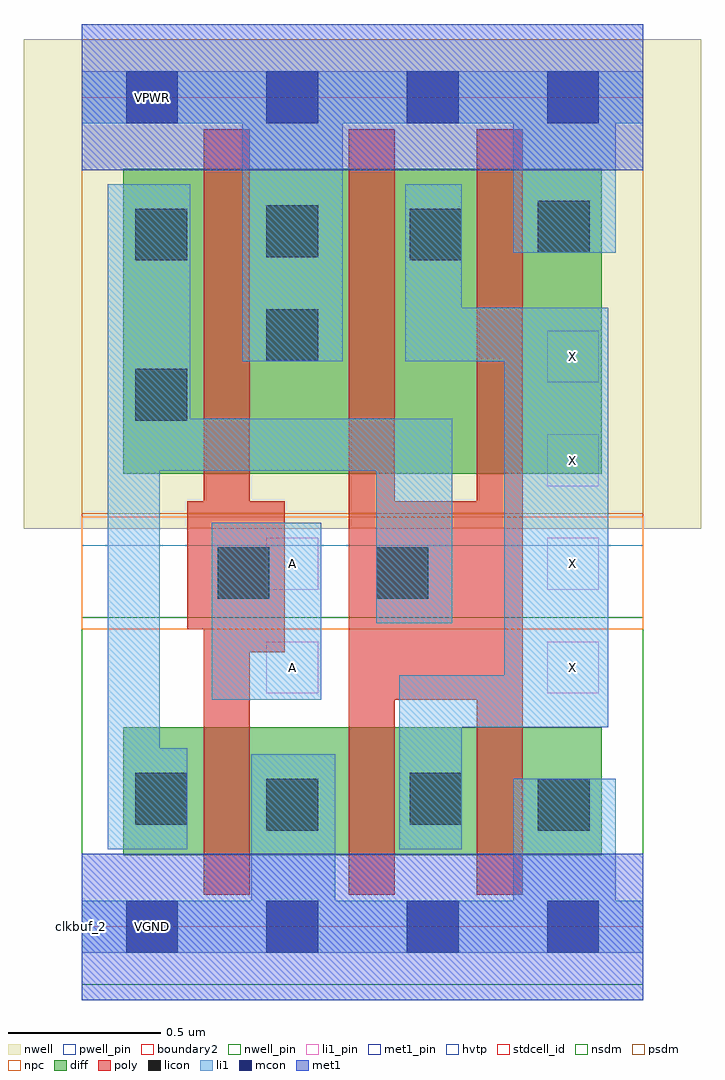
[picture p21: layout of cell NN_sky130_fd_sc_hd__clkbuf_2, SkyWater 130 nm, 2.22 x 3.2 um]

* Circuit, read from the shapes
.subckt NN_sky130_fd_sc_hd__clkbuf_2 A VGND VNB VPB VPWR X
XM1 VGND A n1 VNB sky130_fd_pr__nfet_01v8 w=0.42 l=0.15
XM2 X n1 VGND VNB sky130_fd_pr__nfet_01v8 w=0.42 l=0.15 m=2
XM3 VPWR A n1 VPB sky130_fd_pr__pfet_01v8_hvt w=1 l=0.15
XM4 X n1 VPWR VPB sky130_fd_pr__pfet_01v8_hvt w=1 l=0.15 m=2
.ends

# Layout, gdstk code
import gdstk
lib = gdstk.Library(unit=1e-6, precision=1e-09)
def R(c, l, rs):  # rectangles x0, y0, x1, y1
    for r in rs: c.add(gdstk.rectangle(r[:2], r[2:], *l))
def A(c, l, x, y, w, h, nx, ny, dx, dy):  # array of equal rectangles
    R(c, l, [(x+i*dx, y+j*dy, x+i*dx+w, y+j*dy+h) for i in range(nx) for j in range(ny)])
def P(c, l, *ps):  # polygons
    for p in ps: c.add(gdstk.Polygon(p, *l))
nwell_pin = (64, 16)
nwell = (64, 20)
diff = (65, 20)
poly = (66, 20)
licon = (66, 44)
li1_pin = (67, 16)
li1 = (67, 20)
mcon = (67, 44)
met1_pin = (68, 16)
met1 = (68, 20)
hvtp = (78, 44)
stdcell_id = (81, 4)
nsdm = (93, 44)
psdm = (94, 20)
npc = (95, 20)
pwell_pin = (122, 16)
boundary2 = (236, 0)

nn_sky130_fd_sc_hd__clkb = lib.new_cell('NN_sky130_fd_sc_hd__clkbuf_2')
R(nn_sky130_fd_sc_hd__clkb, nwell_pin, [(0.145,2.635,0.315,2.805)])
R(nn_sky130_fd_sc_hd__clkb, nwell, [(-0.19,1.305,2.03,2.91)])
R(nn_sky130_fd_sc_hd__clkb, diff, [(0.135,0.235,1.705,0.655), (0.135,1.485,1.705,2.485)])
P(nn_sky130_fd_sc_hd__clkb, poly, [(0.665,1.395),(0.55,1.395),(0.55,2.615),(0.4,2.615),(0.4,1.395),(0.345,1.395),(0.345,0.975),(0.4,0.975),(0.4,0.105),(0.55,0.105),(0.55,0.9),(0.665,0.9)],
  [(1.445,2.615),(1.295,2.615),(1.295,1.395),(1.025,1.395),(1.025,2.615),(0.875,2.615),(0.875,0.105),(1.025,0.105),(1.025,0.745),(1.295,0.745),(1.295,0.105),(1.445,0.105)])
R(nn_sky130_fd_sc_hd__clkb, licon, [(0.605,0.315,0.775,0.485), (1.495,0.315,1.665,0.485), (0.175,0.335,0.345,0.505), (1.075,0.335,1.245,0.505), (0.445,1.075,0.615,1.245), (0.965,1.075,1.135,1.245), (0.175,1.66,0.345,1.83), (0.605,1.855,0.775,2.025), (0.175,2.185,0.345,2.355), (1.075,2.185,1.245,2.355), (0.605,2.195,0.775,2.365), (1.495,2.21,1.665,2.38)])
A(nn_sky130_fd_sc_hd__clkb, li1_pin, 1.525, 0.765, 0.17, 0.17, 1, 4, 0, 0.34)
R(nn_sky130_fd_sc_hd__clkb, li1_pin, [(0.605,0.765,0.775,0.935), (0.605,1.105,0.775,1.275)])
R(nn_sky130_fd_sc_hd__clkb, li1, [(0.425,0.745,0.785,1.325)])
P(nn_sky130_fd_sc_hd__clkb, li1, [(1.215,1.665),(0.355,1.665),(0.355,2.435),(0.085,2.435),(0.085,0.255),(0.345,0.255),(0.345,0.585),(0.255,0.585),(0.255,1.495),(0.965,1.495),(0.965,0.995),(1.215,0.995)],
  [(1.725,2.03),(1.245,2.03),(1.245,2.435),(1.06,2.435),(1.06,1.855),(1.385,1.855),(1.385,0.825),(1.04,0.825),(1.04,0.255),(1.245,0.255),(1.245,0.655),(1.725,0.655)],
  [(1.84,2.805),(0,2.805),(0,2.635),(0.525,2.635),(0.525,1.855),(0.855,1.855),(0.855,2.635),(1.415,2.635),(1.415,2.21),(1.75,2.21),(1.75,2.635),(1.84,2.635)],
  [(1.84,0.085),(1.75,0.085),(1.75,0.485),(1.415,0.485),(1.415,0.085),(0.83,0.085),(0.83,0.565),(0.555,0.565),(0.555,0.085),(0,0.085),(0,-0.085),(1.84,-0.085)])
A(nn_sky130_fd_sc_hd__clkb, mcon, 0.145, -0.085, 0.17, 0.17, 4, 2, 0.46, 2.72)
R(nn_sky130_fd_sc_hd__clkb, met1_pin, [(0.145,-0.085,0.315,0.085), (0.145,-0.085,0.315,0.085), (0.145,2.635,0.315,2.805), (0.145,2.635,0.315,2.805)])
R(nn_sky130_fd_sc_hd__clkb, met1, [(0,-0.24,1.84,0.24), (0,2.48,1.84,2.96)])
R(nn_sky130_fd_sc_hd__clkb, hvtp, [(0,1.25,1.84,2.72), (0,1.25,1.84,2.72), (0,1.25,1.84,2.72)])
R(nn_sky130_fd_sc_hd__clkb, stdcell_id, [(0,0,1.84,2.72)])
R(nn_sky130_fd_sc_hd__clkb, nsdm, [(0,-0.19,1.84,1.015)])
R(nn_sky130_fd_sc_hd__clkb, psdm, [(0,1.355,1.84,2.91)])
R(nn_sky130_fd_sc_hd__clkb, npc, [(0,0.975,1.84,1.345)])
R(nn_sky130_fd_sc_hd__clkb, pwell_pin, [(0.145,-0.085,0.315,0.085)])
R(nn_sky130_fd_sc_hd__clkb, boundary2, [(0,0,1.84,2.72)])
nn_sky130_fd_sc_hd__clkb.add(gdstk.Label('A', (0.69,0.85), layer=67, texttype=5))
nn_sky130_fd_sc_hd__clkb.add(gdstk.Label('A', (0.69,1.19), layer=67, texttype=5))
nn_sky130_fd_sc_hd__clkb.add(gdstk.Label('X', (1.61,1.19), layer=67, texttype=5))
nn_sky130_fd_sc_hd__clkb.add(gdstk.Label('X', (1.61,0.85), layer=67, texttype=5))
nn_sky130_fd_sc_hd__clkb.add(gdstk.Label('X', (1.61,1.53), layer=67, texttype=5))
nn_sky130_fd_sc_hd__clkb.add(gdstk.Label('X', (1.61,1.87), layer=67, texttype=5))
nn_sky130_fd_sc_hd__clkb.add(gdstk.Label('VGND', (0.23,0), layer=68, texttype=5))
nn_sky130_fd_sc_hd__clkb.add(gdstk.Label('VPWR', (0.23,2.72), layer=68, texttype=5))
nn_sky130_fd_sc_hd__clkb.add(gdstk.Label('VGND', (0.23,0), layer=68, texttype=5))
nn_sky130_fd_sc_hd__clkb.add(gdstk.Label('VPWR', (0.23,2.72), layer=68, texttype=5))
nn_sky130_fd_sc_hd__clkb.add(gdstk.Label('VPB', (0.23,2.72), layer=64, texttype=5))
nn_sky130_fd_sc_hd__clkb.add(gdstk.Label('VNB', (0.23,0), layer=64, texttype=59))
nn_sky130_fd_sc_hd__clkb.add(gdstk.Label('clkbuf_2', (0,0), layer=83, texttype=44))

lib.write_gds('NN_sky130_fd_sc_hd__clkbuf_2.gds')
